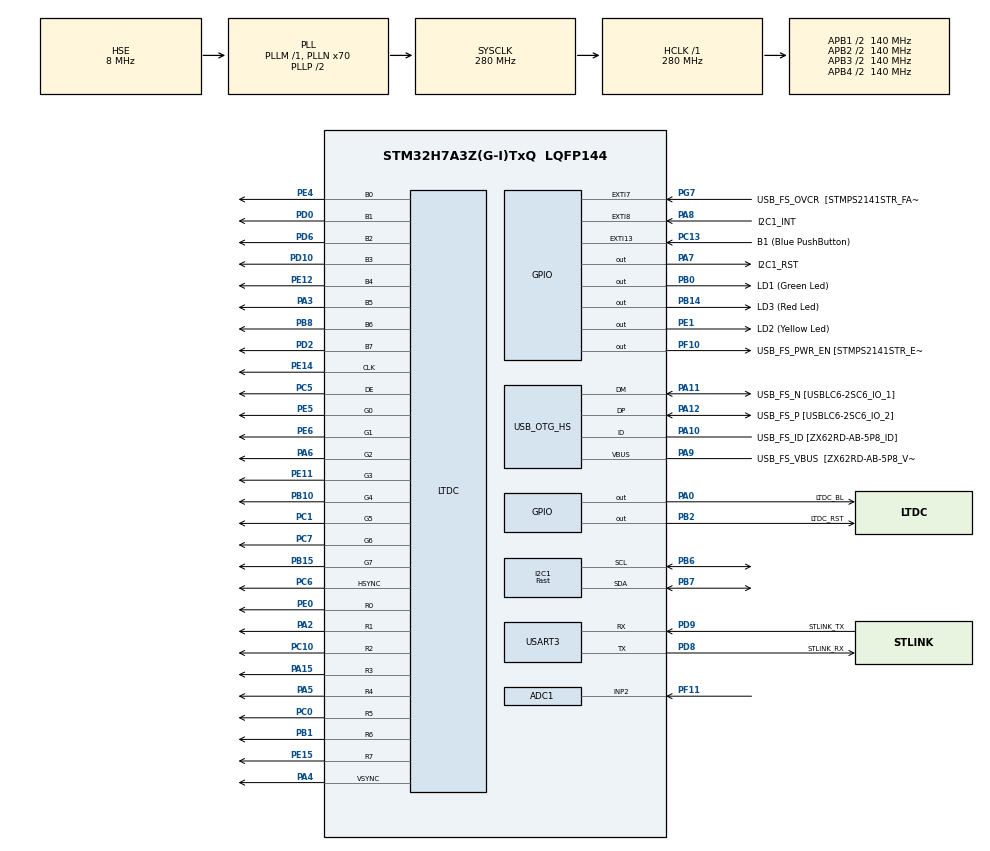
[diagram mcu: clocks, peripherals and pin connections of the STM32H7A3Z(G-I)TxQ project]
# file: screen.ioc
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ADC1.Channel-0\#ChannelRegularConversion=ADC_CHANNEL_2
ADC1.NbrOfConversionFlag=1
ADC1.OffsetNumber-0\#ChannelRegularConversion=ADC_OFFSET_NONE
ADC1.OffsetSignedSaturation-0\#ChannelRegularConversion=DISABLE
ADC1.Rank-0\#ChannelRegularConversion=1
ADC1.SamplingTime-0\#ChannelRegularConversion=ADC_SAMPLETIME_1CYCLE_5
ADC1.master=1
I2C1.I2C_Speed_Mode=I2C_Fast
I2C1.OwnAddress=0x38
I2C1.Timing=0x00D04BFF
LTDC.ActiveH=600
LTDC.ActiveW=1024
LTDC.Alpha0_L0=255
LTDC.Alpha_L0=255
LTDC.Blue=0
LTDC.Blue_L0=0
LTDC.FBStartAdress_L0=0x24000200
LTDC.Green_L0=0
LTDC.HBP=140
LTDC.HFP=160
LTDC.HSync=21
LTDC.ImageHeight_L0=600
LTDC.ImageWidth_L0=800
LTDC.Layers=0
LTDC.PixelFormat_L0=LTDC_PIXEL_FORMAT_RGB565
LTDC.Red_L0=0
LTDC.VBP=20
LTDC.VFP=12
LTDC.VSync=4
LTDC.WindowX0_L0=100
LTDC.WindowX1_L0=900
LTDC.WindowY0_L0=0
LTDC.WindowY1_L0=600
Mcu.Family=STM32H7
Mcu.Name=STM32H7A3Z(G-I)TxQ
Mcu.Package=LQFP144
NVIC.EXTI15_10_IRQn=true\:0\:0\:false\:false\:true\:true\:true\:true
NVIC.EXTI9_5_IRQn=true\:0\:0\:false\:false\:true\:true\:true\:true
NVIC.PriorityGroup=NVIC_PRIORITYGROUP_4
NVIC.TIM17_IRQn=true\:0\:0\:false\:false\:true\:true\:true\:true
PA0.GPIO_Label=LTDC_BL
PA0.GPIO_Speed=GPIO_SPEED_FREQ_VERY_HIGH
PA0.PinState=GPIO_PIN_RESET
PA0.Signal=GPIO_Output
PA10.GPIO_Label=USB_FS_ID [ZX62RD-AB-5P8_ID]
PA10.Mode=OTG/Dual-Role-Device-FS
PA10.Signal=USB_OTG_HS_ID
PA11.GPIO_Label=USB_FS_N [USBLC6-2SC6_IO_1]
PA11.Mode=OTG/Dual-Role-Device-FS
PA11.Signal=USB_OTG_HS_DM
PA12.GPIO_Label=USB_FS_P [USBLC6-2SC6_IO_2]
PA12.Mode=OTG/Dual-Role-Device-FS
PA12.Signal=USB_OTG_HS_DP
PA15.GPIO_Speed=GPIO_SPEED_FREQ_VERY_HIGH
PA15.Mode=RGB888
PA15.Signal=LTDC_R3
PA2.GPIO_Speed=GPIO_SPEED_FREQ_VERY_HIGH
PA2.Mode=RGB888
PA2.Signal=LTDC_R1
PA3.GPIO_Speed=GPIO_SPEED_FREQ_VERY_HIGH
PA3.Mode=RGB888
PA3.Signal=LTDC_B5
PA4.GPIO_Speed=GPIO_SPEED_FREQ_VERY_HIGH
PA4.Mode=RGB888
PA4.Signal=LTDC_VSYNC
PA5.GPIO_Speed=GPIO_SPEED_FREQ_VERY_HIGH
PA5.Mode=RGB888
PA5.Signal=LTDC_R4
PA6.GPIO_Speed=GPIO_SPEED_FREQ_VERY_HIGH
PA6.Mode=RGB888
PA6.Signal=LTDC_G2
PA7.GPIO_Label=I2C1_RST
PA7.GPIO_Speed=GPIO_SPEED_FREQ_LOW
PA7.PinState=GPIO_PIN_SET
PA7.Signal=GPIO_Output
PA8.GPIO_Label=I2C1_INT
PA8.Signal=GPXTI8
PA9.GPIO_Label=USB_FS_VBUS  [ZX62RD-AB-5P8_VBUS]
PA9.Mode=Activate_VBUS_FS
PA9.Signal=USB_OTG_HS_VBUS
PB0.GPIO_Label=LD1 (Green Led)
PB0.Signal=GPIO_Output
PB1.GPIO_Speed=GPIO_SPEED_FREQ_VERY_HIGH
PB1.Mode=RGB888
PB1.Signal=LTDC_R6
PB10.GPIO_Speed=GPIO_SPEED_FREQ_VERY_HIGH
PB10.Mode=RGB888
PB10.Signal=LTDC_G4
PB14.GPIO_Label=LD3 (Red Led)
PB14.Signal=GPIO_Output
PB15.GPIO_Speed=GPIO_SPEED_FREQ_VERY_HIGH
PB15.Mode=RGB888
PB15.Signal=LTDC_G7
PB2.GPIO_Label=LTDC_RST
PB2.GPIO_Speed=GPIO_SPEED_FREQ_VERY_HIGH
PB2.PinState=GPIO_PIN_SET
PB2.Signal=GPIO_Output
PB6.GPIO_Pu=GPIO_PULLUP
PB6.GPIO_Speed=GPIO_SPEED_FREQ_LOW
PB6.Mode=I2C
PB6.Signal=I2C1_SCL
PB7.GPIO_Pu=GPIO_PULLUP
PB7.GPIO_Speed=GPIO_SPEED_FREQ_LOW
PB7.Mode=I2C
PB7.Signal=I2C1_SDA
PB8.GPIO_Speed=GPIO_SPEED_FREQ_VERY_HIGH
PB8.Mode=RGB888
PB8.Signal=LTDC_B6
PC0.GPIO_Speed=GPIO_SPEED_FREQ_VERY_HIGH
PC0.Mode=RGB888
PC0.Signal=LTDC_R5
PC1.GPIO_Speed=GPIO_SPEED_FREQ_VERY_HIGH
PC1.Mode=RGB888
PC1.Signal=LTDC_G5
PC10.GPIO_Speed=GPIO_SPEED_FREQ_VERY_HIGH
PC10.Mode=RGB888
PC10.Signal=LTDC_R2
PC13.GPIO_Label=B1 (Blue PushButton)
PC13.Signal=GPXTI13
PC14-OSC32_IN.GPIO_Label=OSC32_IN
PC14-OSC32_IN.Mode=LSE-External-Oscillator
PC14-OSC32_IN.Signal=RCC_OSC32_IN
PC15-OSC32_OUT.GPIO_Label=OSC32_OUT
PC15-OSC32_OUT.Mode=LSE-External-Oscillator
PC15-OSC32_OUT.Signal=RCC_OSC32_OUT
PC5.GPIO_Speed=GPIO_SPEED_FREQ_VERY_HIGH
PC5.Mode=RGB888
PC5.Signal=LTDC_DE
PC6.GPIO_Speed=GPIO_SPEED_FREQ_VERY_HIGH
PC6.Mode=RGB888
PC6.Signal=LTDC_HSYNC
PC7.GPIO_Speed=GPIO_SPEED_FREQ_VERY_HIGH
PC7.Mode=RGB888
PC7.Signal=LTDC_G6
PD0.GPIO_Speed=GPIO_SPEED_FREQ_VERY_HIGH
PD0.Mode=RGB888
PD0.Signal=LTDC_B1
PD10.GPIO_Speed=GPIO_SPEED_FREQ_VERY_HIGH
PD10.Mode=RGB888
PD10.Signal=LTDC_B3
PD2.GPIO_Speed=GPIO_SPEED_FREQ_VERY_HIGH
PD2.Mode=RGB888
PD2.Signal=LTDC_B7
PD6.GPIO_Speed=GPIO_SPEED_FREQ_VERY_HIGH
PD6.Mode=RGB888
PD6.Signal=LTDC_B2
PD8.GPIO_Label=STLINK_RX
PD8.Mode=Asynchronous
PD8.Signal=USART3_TX
PD9.GPIO_Label=STLINK_TX
PD9.Mode=Asynchronous
PD9.Signal=USART3_RX
PE0.GPIO_Speed=GPIO_SPEED_FREQ_VERY_HIGH
PE0.Mode=RGB888
PE0.Signal=LTDC_R0
PE1.GPIO_Label=LD2 (Yellow Led)
PE1.Signal=GPIO_Output
PE11.GPIO_Speed=GPIO_SPEED_FREQ_VERY_HIGH
PE11.Mode=RGB888
PE11.Signal=LTDC_G3
PE12.GPIO_Speed=GPIO_SPEED_FREQ_VERY_HIGH
PE12.Mode=RGB888
PE12.Signal=LTDC_B4
PE14.GPIO_Speed=GPIO_SPEED_FREQ_VERY_HIGH
PE14.Mode=RGB888
PE14.Signal=LTDC_CLK
PE15.GPIO_Speed=GPIO_SPEED_FREQ_VERY_HIGH
PE15.Mode=RGB888
PE15.Signal=LTDC_R7
PE4.GPIO_Speed=GPIO_SPEED_FREQ_VERY_HIGH
PE4.Mode=RGB888
PE4.Signal=LTDC_B0
PE5.GPIO_Speed=GPIO_SPEED_FREQ_VERY_HIGH
PE5.Mode=RGB888
PE5.Signal=LTDC_G0
PE6.GPIO_Speed=GPIO_SPEED_FREQ_VERY_HIGH
PE6.Mode=RGB888
PE6.Signal=LTDC_G1
PF10.GPIO_Label=USB_FS_PWR_EN [STMPS2141STR_EN]
PF10.Signal=GPIO_Output
PF11.Mode=IN2-Single-Ended
PF11.Signal=ADC1_INP2
PG7.GPIO_Label=USB_FS_OVCR  [STMPS2141STR_FAULT]
PG7.Signal=GPXTI7
PH0-OSC_IN.GPIO_Label=PH0-MCU
PH0-OSC_IN.Mode=HSE-External-Oscillator
PH0-OSC_IN.Signal=RCC_OSC_IN
PH1-OSC_OUT.GPIO_Label=PH1-MCU
PH1-OSC_OUT.Mode=HSE-External-Oscillator
PH1-OSC_OUT.Signal=RCC_OSC_OUT
ProjectManager.HeapSize=0x200
ProjectManager.StackSize=0x400
ProjectManager.TargetToolchain=STM32CubeIDE
RCC.ADCFreq_Value=128000000
RCC.APB1Freq_Value=140000000
RCC.APB2Freq_Value=140000000
RCC.APB3Freq_Value=140000000
RCC.APB4Freq_Value=140000000
RCC.CDPPRE=RCC_APB3_DIV2
RCC.CDPPRE1=RCC_APB1_DIV2
RCC.CDPPRE2=RCC_APB2_DIV2
RCC.CortexFreq_Value=280000000
RCC.DIVM1=1
RCC.DIVM2=1
RCC.DIVM3=1
RCC.DIVN1=70
RCC.DIVN2=16
RCC.DIVN3=32
RCC.DIVP2=1
RCC.DIVQ1=4
RCC.DIVR3=5
RCC.HCLKFreq_Value=280000000
RCC.HSE_VALUE=8000000
RCC.PLL2FRACN=0
RCC.PLL3FRACN=0
RCC.PLLFRACN=0
RCC.PLLSourceVirtual=RCC_PLLSOURCE_HSE
RCC.SRDPPRE=RCC_APB4_DIV2
RCC.SYSCLKFreq_VALUE=280000000
RCC.SYSCLKSource=RCC_SYSCLKSOURCE_PLLCLK
RCC.SupplySource=PWR_DIRECT_SMPS_SUPPLY
RCC.USBCLockSelection=RCC_USBCLKSOURCE_HSI48
RCC.USBFreq_Value=48000000
TIM17.Period=10000
TIM17.Prescaler=28000
USART3.VirtualMode-Asynchronous=VM_ASYNC
VP_TIM17_VS_ClockSourceINT.Mode=Enable_Timer
board=NUCLEO-H7A3ZI-Q

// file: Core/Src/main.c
/* USER CODE BEGIN Header */
/**
 ******************************************************************************
 * @file           : main.c
 * @brief          : Main program body
 ******************************************************************************
 * @attention
 *
 * Copyright (c) 2022 STMicroelectronics.
 * All rights reserved.
 *
 * This software is licensed under terms that can be found in the LICENSE file
 * in the root directory of this software component.
 * If no LICENSE file comes with this software, it is provided AS-IS.
 *
 ******************************************************************************
 */
/* USER CODE END Header */
#include "main.h"

/* USER CODE BEGIN Includes */
#include "screen.h"
#include "stdlib.h"
#include "string.h"
/* USER CODE END Includes */

 ADC_HandleTypeDef hadc1;

I2C_HandleTypeDef hi2c1;

LTDC_HandleTypeDef hltdc;

TIM_HandleTypeDef htim17;

UART_HandleTypeDef huart3;

/* USER CODE BEGIN PV */
extern unsigned long long tick;
/* USER CODE END PV */

void SystemClock_Config(void);
static void MX_GPIO_Init(void);
static void MX_USART3_UART_Init(void);
static void MX_USB_OTG_HS_USB_Init(void);
static void MX_LTDC_Init(void);
static void MX_I2C1_Init(void);
static void MX_ADC1_Init(void);
static void MX_TIM17_Init(void);

int main(void)
{

  /* MCU Configuration--------------------------------------------------------*/

  /* Reset of all peripherals, Initializes the Flash interface and the Systick. */
  HAL_Init();

  /* Configure the system clock */
  SystemClock_Config();

  /* USER CODE BEGIN SysInit */
	HAL_GPIO_WritePin(LD1_GPIO_Port, LD1_Pin, RESET);
	HAL_GPIO_WritePin(LTDC_RST_GPIO_Port, LTDC_RST_Pin, RESET);
	HAL_GPIO_WritePin(I2C1_RST_GPIO_Port, I2C1_RST_Pin, RESET);
	HAL_Delay(100);
	HAL_GPIO_WritePin(LTDC_RST_GPIO_Port, LTDC_RST_Pin, SET); // LCD reset
	HAL_GPIO_WritePin(I2C1_RST_GPIO_Port, I2C1_RST_Pin, SET); // I2C reset
	touch_reg_init(&hi2c1); // touch screen register
	HAL_Delay(100);
  /* USER CODE END SysInit */

  /* Initialize all configured peripherals */
  MX_GPIO_Init();
  MX_USART3_UART_Init();
  MX_USB_OTG_HS_USB_Init();
  MX_LTDC_Init();
  MX_I2C1_Init();
  MX_ADC1_Init();
  MX_TIM17_Init();
  /* USER CODE BEGIN 2 */
	HAL_GPIO_WritePin(LD1_GPIO_Port, LD1_Pin, SET);
	pos_t pos = clrscreen(RGB565(255, 255, 255));
	HAL_GPIO_WritePin(LTDC_BL_GPIO_Port, LTDC_BL_Pin, SET);
	HAL_TIM_Base_Start_IT(&htim17);

//	while (1) {
//		point_t p[] = { { 50, 100 }, { -50, 0 }, { 250, 0 }, { 150, 100 } };
//		point_t p2[] = { { 150, 100 }, { 200, 160 }, { 150, 200 } };
//		point_t start = { 100, 200 };
//		rect_t border = outline_bezier(3, p, start, 0x0, 0, 1);
//		rect_t border2 = outline_bezier(2, p2, start, 0x0, 0, 1);
//		if (border2.l < border.l)
//			border.l = border2.l;
//		if (border2.r > border.r)
//			border.r = border2.r;
//		if (border2.t < border.t)
//			border.t = border2.t;
//		if (border2.b > border.b)
//			border.b = border2.b;
//		int sz = (border.r - border.l + 1) * (border.b - border.t + 1) / 8 + 1;
//		char *bitout = (char*) malloc(sz);
//		char *bitasc = (char*) malloc(sz);
//		char *bitdesc = (char*) malloc(sz);
//		memset(bitout, 0, sz);
//		memset(bitasc, 0, sz);
//		memset(bitdesc, 0, sz);
//		double theta;
//		fill_bezier(3, p, start, border, bitout, bitasc, bitdesc, &theta);
//		fill_bezier(2, p2, start, border, bitout, bitasc, bitdesc, &theta);
//		for (int x = border.l; x < border.r; x++)
//			for (int y = border.t; y < border.b; y++)
//				if (testbit(bitout, (y - border.t) * (border.r - border.l + 1) + (x - border.l)))
//					draw_dot(x, y, 0x001f);
//		free(bitasc);
//		free(bitdesc);
//		outline_bezier(3, p, start, 0x0, 1, 1);
//		outline_bezier(2, p2, start, 0x0, 1, 1);
//		while (1)
//			;
//	}

	int ch = 0;
	while (1) {
//		ch = '@' - '!';
		clrscreen(0xffff);
		rect_t border = outline_svg_path(POS(0, 0), 32,
				vfont_pos[ch + 1] - vfont_pos[ch], vfont_path + vfont_pos[ch],
				0, 0, 0);
//		fill_rect(POS(border.l, border.t), POS(border.r, border.b), RGB565(255, 255, 0));
		outline_svg_path(POS(0, 0), 32, vfont_pos[ch + 1] - vfont_pos[ch],
				vfont_path + vfont_pos[ch], 0, 1, 0);
		if (border.l == -1 || border.r == -1 || border.b == -1 || border.t == -1) {
			fill_rect(POS(0, 0), POS(100, 100), 0xf800);
			while (1);
		}
		int sz = (border.r - border.l + 1) * (border.b - border.t + 1) / 8 + 1;
		char *bitout = (char*) malloc(sz);
		memset(bitout, 0, sz);
		fill_svg_path(POS(0, 0), 32, vfont_pos[ch + 1] - vfont_pos[ch],
				vfont_path + vfont_pos[ch], bitout, border);
		for (int x = border.l; x < border.r; x++)
			for (int y = border.t; y < border.b; y++)
				if (IN_WINDOW(x, y))
					if (testbit(bitout, (y - border.t) * (border.r - border.l + 1) + (x - border.l)))
						draw_dot(x, y, 0x001f);
		free(bitout);
		ch++;
		if (ch == 0x7f - '!')
			ch = 0;
		HAL_Delay(500);
//		while (1);
	}

  /* USER CODE END 2 */

  /* Infinite loop */
  /* USER CODE BEGIN WHILE */
	HAL_ADCEx_Calibration_Start(&hadc1, ADC_CALIB_OFFSET, ADC_SINGLE_ENDED); // ADC
	while (1) {
		HAL_ADC_Start(&hadc1);
		HAL_ADC_PollForConversion(&hadc1, HAL_MAX_DELAY);
//		_putl(pos, HAL_ADC_GetValue(&hadc1), 10);
    /* USER CODE END WHILE */

	}
}

void SystemClock_Config(void)
{
  RCC_OscInitTypeDef RCC_OscInitStruct = {0};
  RCC_ClkInitTypeDef RCC_ClkInitStruct = {0};

  /** Supply configuration update enable
  */
  HAL_PWREx_ConfigSupply(PWR_DIRECT_SMPS_SUPPLY);

  /** Configure the main internal regulator output voltage
  */
  __HAL_PWR_VOLTAGESCALING_CONFIG(PWR_REGULATOR_VOLTAGE_SCALE0);

  while(!__HAL_PWR_GET_FLAG(PWR_FLAG_VOSRDY)) {}

  /** Macro to configure the PLL clock source
  */
  __HAL_RCC_PLL_PLLSOURCE_CONFIG(RCC_PLLSOURCE_HSE);

  /** Initializes the RCC Oscillators according to the specified parameters
  * in the RCC_OscInitTypeDef structure.
  */
  RCC_OscInitStruct.OscillatorType = RCC_OSCILLATORTYPE_HSI48|RCC_OSCILLATORTYPE_HSE;
  RCC_OscInitStruct.HSEState = RCC_HSE_ON;
  RCC_OscInitStruct.HSI48State = RCC_HSI48_ON;
  RCC_OscInitStruct.PLL.PLLState = RCC_PLL_ON;
  RCC_OscInitStruct.PLL.PLLSource = RCC_PLLSOURCE_HSE;
  RCC_OscInitStruct.PLL.PLLM = 1;
  RCC_OscInitStruct.PLL.PLLN = 70;
  RCC_OscInitStruct.PLL.PLLP = 2;
  RCC_OscInitStruct.PLL.PLLQ = 4;
  RCC_OscInitStruct.PLL.PLLR = 2;
  RCC_OscInitStruct.PLL.PLLRGE = RCC_PLL1VCIRANGE_3;
  RCC_OscInitStruct.PLL.PLLVCOSEL = RCC_PLL1VCOWIDE;
  RCC_OscInitStruct.PLL.PLLFRACN = 0;
  if (HAL_RCC_OscConfig(&RCC_OscInitStruct) != HAL_OK)
  {
    Error_Handler();
  }

  /** Initializes the CPU, AHB and APB buses clocks
  */
  RCC_ClkInitStruct.ClockType = RCC_CLOCKTYPE_HCLK|RCC_CLOCKTYPE_SYSCLK
                              |RCC_CLOCKTYPE_PCLK1|RCC_CLOCKTYPE_PCLK2
                              |RCC_CLOCKTYPE_D3PCLK1|RCC_CLOCKTYPE_D1PCLK1;
  RCC_ClkInitStruct.SYSCLKSource = RCC_SYSCLKSOURCE_PLLCLK;
  RCC_ClkInitStruct.SYSCLKDivider = RCC_SYSCLK_DIV1;
  RCC_ClkInitStruct.AHBCLKDivider = RCC_HCLK_DIV1;
  RCC_ClkInitStruct.APB3CLKDivider = RCC_APB3_DIV2;
  RCC_ClkInitStruct.APB1CLKDivider = RCC_APB1_DIV2;
  RCC_ClkInitStruct.APB2CLKDivider = RCC_APB2_DIV2;
  RCC_ClkInitStruct.APB4CLKDivider = RCC_APB4_DIV2;

  if (HAL_RCC_ClockConfig(&RCC_ClkInitStruct, FLASH_LATENCY_7) != HAL_OK)
  {
    Error_Handler();
  }
}

static void MX_ADC1_Init(void)
{

  ADC_MultiModeTypeDef multimode = {0};
  ADC_ChannelConfTypeDef sConfig = {0};

  /** Common config
  */
  hadc1.Instance = ADC1;
  hadc1.Init.ClockPrescaler = ADC_CLOCK_ASYNC_DIV1;
  hadc1.Init.Resolution = ADC_RESOLUTION_16B;
  hadc1.Init.ScanConvMode = ADC_SCAN_DISABLE;
  hadc1.Init.EOCSelection = ADC_EOC_SINGLE_CONV;
  hadc1.Init.LowPowerAutoWait = DISABLE;
  hadc1.Init.ContinuousConvMode = DISABLE;
  hadc1.Init.NbrOfConversion = 1;
  hadc1.Init.DiscontinuousConvMode = DISABLE;
  hadc1.Init.ExternalTrigConv = ADC_SOFTWARE_START;
  hadc1.Init.ExternalTrigConvEdge = ADC_EXTERNALTRIGCONVEDGE_NONE;
  hadc1.Init.ConversionDataManagement = ADC_CONVERSIONDATA_DR;
  hadc1.Init.Overrun = ADC_OVR_DATA_PRESERVED;
  hadc1.Init.LeftBitShift = ADC_LEFTBITSHIFT_NONE;
  hadc1.Init.OversamplingMode = DISABLE;
  if (HAL_ADC_Init(&hadc1) != HAL_OK)
  {
    Error_Handler();
  }

  /** Configure the ADC multi-mode
  */
  multimode.Mode = ADC_MODE_INDEPENDENT;
  if (HAL_ADCEx_MultiModeConfigChannel(&hadc1, &multimode) != HAL_OK)
  {
    Error_Handler();
  }

  /** Configure Regular Channel
  */
  sConfig.Channel = ADC_CHANNEL_2;
  sConfig.Rank = ADC_REGULAR_RANK_1;
  sConfig.SamplingTime = ADC_SAMPLETIME_1CYCLE_5;
  sConfig.SingleDiff = ADC_SINGLE_ENDED;
  sConfig.OffsetNumber = ADC_OFFSET_NONE;
  sConfig.Offset = 0;
  sConfig.OffsetSignedSaturation = DISABLE;
  if (HAL_ADC_ConfigChannel(&hadc1, &sConfig) != HAL_OK)
  {
    Error_Handler();
  }

}

static void MX_I2C1_Init(void)
{

  hi2c1.Instance = I2C1;
  hi2c1.Init.Timing = 0x00D04BFF;
  hi2c1.Init.OwnAddress1 = 112;
  hi2c1.Init.AddressingMode = I2C_ADDRESSINGMODE_7BIT;
  hi2c1.Init.DualAddressMode = I2C_DUALADDRESS_DISABLE;
  hi2c1.Init.OwnAddress2 = 0;
  hi2c1.Init.OwnAddress2Masks = I2C_OA2_NOMASK;
  hi2c1.Init.GeneralCallMode = I2C_GENERALCALL_DISABLE;
  hi2c1.Init.NoStretchMode = I2C_NOSTRETCH_DISABLE;
  if (HAL_I2C_Init(&hi2c1) != HAL_OK)
  {
    Error_Handler();
  }

  /** Configure Analogue filter
  */
  if (HAL_I2CEx_ConfigAnalogFilter(&hi2c1, I2C_ANALOGFILTER_ENABLE) != HAL_OK)
  {
    Error_Handler();
  }

  /** Configure Digital filter
  */
  if (HAL_I2CEx_ConfigDigitalFilter(&hi2c1, 0) != HAL_OK)
  {
    Error_Handler();
  }

}

static void MX_LTDC_Init(void)
{

  LTDC_LayerCfgTypeDef pLayerCfg = {0};

  hltdc.Instance = LTDC;
  hltdc.Init.HSPolarity = LTDC_HSPOLARITY_AL;
  hltdc.Init.VSPolarity = LTDC_VSPOLARITY_AL;
  hltdc.Init.DEPolarity = LTDC_DEPOLARITY_AL;
  hltdc.Init.PCPolarity = LTDC_PCPOLARITY_IPC;
  hltdc.Init.HorizontalSync = 20;
  hltdc.Init.VerticalSync = 3;
  hltdc.Init.AccumulatedHBP = 160;
  hltdc.Init.AccumulatedVBP = 23;
  hltdc.Init.AccumulatedActiveW = 1184;
  hltdc.Init.AccumulatedActiveH = 623;
  hltdc.Init.TotalWidth = 1344;
  hltdc.Init.TotalHeigh = 635;
  hltdc.Init.Backcolor.Blue = 0;
  hltdc.Init.Backcolor.Green = 0;
  hltdc.Init.Backcolor.Red = 0;
  if (HAL_LTDC_Init(&hltdc) != HAL_OK)
  {
    Error_Handler();
  }
  pLayerCfg.WindowX0 = 100;
  pLayerCfg.WindowX1 = 900;
  pLayerCfg.WindowY0 = 0;
  pLayerCfg.WindowY1 = 600;
  pLayerCfg.PixelFormat = LTDC_PIXEL_FORMAT_RGB565;
  pLayerCfg.Alpha = 255;
  pLayerCfg.Alpha0 = 255;
  pLayerCfg.BlendingFactor1 = LTDC_BLENDING_FACTOR1_CA;
  pLayerCfg.BlendingFactor2 = LTDC_BLENDING_FACTOR2_CA;
  pLayerCfg.FBStartAdress = 0x24000200;
  pLayerCfg.ImageWidth = 800;
  pLayerCfg.ImageHeight = 600;
  pLayerCfg.Backcolor.Blue = 0;
  pLayerCfg.Backcolor.Green = 0;
  pLayerCfg.Backcolor.Red = 0;
  if (HAL_LTDC_ConfigLayer(&hltdc, &pLayerCfg, 0) != HAL_OK)
  {
    Error_Handler();
  }
  /* USER CODE BEGIN LTDC_Init 2 */
	pLayerCfg.FBStartAdress = (uint32_t) pixels_565;
	if (HAL_LTDC_ConfigLayer(&hltdc, &pLayerCfg, 0) != HAL_OK) {
		Error_Handler();
	}

  /* USER CODE END LTDC_Init 2 */

}

static void MX_TIM17_Init(void)
{

  htim17.Instance = TIM17;
  htim17.Init.Prescaler = 28000;
  htim17.Init.CounterMode = TIM_COUNTERMODE_UP;
  htim17.Init.Period = 10000;
  htim17.Init.ClockDivision = TIM_CLOCKDIVISION_DIV1;
  htim17.Init.RepetitionCounter = 0;
  htim17.Init.AutoReloadPreload = TIM_AUTORELOAD_PRELOAD_DISABLE;
  if (HAL_TIM_Base_Init(&htim17) != HAL_OK)
  {
    Error_Handler();
  }

}

static void MX_USART3_UART_Init(void)
{

  huart3.Instance = USART3;
  huart3.Init.BaudRate = 115200;
  huart3.Init.WordLength = UART_WORDLENGTH_8B;
  huart3.Init.StopBits = UART_STOPBITS_1;
  huart3.Init.Parity = UART_PARITY_NONE;
  huart3.Init.Mode = UART_MODE_TX_RX;
  huart3.Init.HwFlowCtl = UART_HWCONTROL_NONE;
  huart3.Init.OverSampling = UART_OVERSAMPLING_16;
  huart3.Init.OneBitSampling = UART_ONE_BIT_SAMPLE_DISABLE;
  huart3.Init.ClockPrescaler = UART_PRESCALER_DIV1;
  huart3.AdvancedInit.AdvFeatureInit = UART_ADVFEATURE_NO_INIT;
  if (HAL_UART_Init(&huart3) != HAL_OK)
  {
    Error_Handler();
  }
  if (HAL_UARTEx_SetTxFifoThreshold(&huart3, UART_TXFIFO_THRESHOLD_1_8) != HAL_OK)
  {
    Error_Handler();
  }
  if (HAL_UARTEx_SetRxFifoThreshold(&huart3, UART_RXFIFO_THRESHOLD_1_8) != HAL_OK)
  {
    Error_Handler();
  }
  if (HAL_UARTEx_DisableFifoMode(&huart3) != HAL_OK)
  {
    Error_Handler();
  }

}

static void MX_USB_OTG_HS_USB_Init(void)
{

}

static void MX_GPIO_Init(void)
{
  GPIO_InitTypeDef GPIO_InitStruct = {0};

  /* GPIO Ports Clock Enable */
  __HAL_RCC_GPIOE_CLK_ENABLE();
  __HAL_RCC_GPIOC_CLK_ENABLE();
  __HAL_RCC_GPIOF_CLK_ENABLE();
  __HAL_RCC_GPIOH_CLK_ENABLE();
  __HAL_RCC_GPIOA_CLK_ENABLE();
  __HAL_RCC_GPIOB_CLK_ENABLE();
  __HAL_RCC_GPIOD_CLK_ENABLE();
  __HAL_RCC_GPIOG_CLK_ENABLE();

  /*Configure GPIO pin Output Level */
  HAL_GPIO_WritePin(USB_FS_PWR_EN_GPIO_Port, USB_FS_PWR_EN_Pin, GPIO_PIN_RESET);

  /*Configure GPIO pin Output Level */
  HAL_GPIO_WritePin(LTDC_BL_GPIO_Port, LTDC_BL_Pin, GPIO_PIN_RESET);

  /*Configure GPIO pin Output Level */
  HAL_GPIO_WritePin(I2C1_RST_GPIO_Port, I2C1_RST_Pin, GPIO_PIN_SET);

  /*Configure GPIO pin Output Level */
  HAL_GPIO_WritePin(GPIOB, LD1_Pin|LD3_Pin, GPIO_PIN_RESET);

  /*Configure GPIO pin Output Level */
  HAL_GPIO_WritePin(LTDC_RST_GPIO_Port, LTDC_RST_Pin, GPIO_PIN_SET);

  /*Configure GPIO pin Output Level */
  HAL_GPIO_WritePin(LD2_GPIO_Port, LD2_Pin, GPIO_PIN_RESET);

  /*Configure GPIO pin : B1_Pin */
  GPIO_InitStruct.Pin = B1_Pin;
  GPIO_InitStruct.Mode = GPIO_MODE_IT_RISING;
  GPIO_InitStruct.Pull = GPIO_NOPULL;
  HAL_GPIO_Init(B1_GPIO_Port, &GPIO_InitStruct);

  /*Configure GPIO pin : USB_FS_PWR_EN_Pin */
  GPIO_InitStruct.Pin = USB_FS_PWR_EN_Pin;
  GPIO_InitStruct.Mode = GPIO_MODE_OUTPUT_PP;
  GPIO_InitStruct.Pull = GPIO_NOPULL;
  GPIO_InitStruct.Speed = GPIO_SPEED_FREQ_LOW;
  HAL_GPIO_Init(USB_FS_PWR_EN_GPIO_Port, &GPIO_InitStruct);

  /*Configure GPIO pin : LTDC_BL_Pin */
  GPIO_InitStruct.Pin = LTDC_BL_Pin;
  GPIO_InitStruct.Mode = GPIO_MODE_OUTPUT_PP;
  GPIO_InitStruct.Pull = GPIO_NOPULL;
  GPIO_InitStruct.Speed = GPIO_SPEED_FREQ_VERY_HIGH;
  HAL_GPIO_Init(LTDC_BL_GPIO_Port, &GPIO_InitStruct);

  /*Configure GPIO pin : I2C1_RST_Pin */
  GPIO_InitStruct.Pin = I2C1_RST_Pin;
  GPIO_InitStruct.Mode = GPIO_MODE_OUTPUT_PP;
  GPIO_InitStruct.Pull = GPIO_NOPULL;
  GPIO_InitStruct.Speed = GPIO_SPEED_FREQ_LOW;
  HAL_GPIO_Init(I2C1_RST_GPIO_Port, &GPIO_InitStruct);

  /*Configure GPIO pins : LD1_Pin LD3_Pin */
  GPIO_InitStruct.Pin = LD1_Pin|LD3_Pin;
  GPIO_InitStruct.Mode = GPIO_MODE_OUTPUT_PP;
  GPIO_InitStruct.Pull = GPIO_NOPULL;
  GPIO_InitStruct.Speed = GPIO_SPEED_FREQ_LOW;
  HAL_GPIO_Init(GPIOB, &GPIO_InitStruct);

  /*Configure GPIO pin : LTDC_RST_Pin */
  GPIO_InitStruct.Pin = LTDC_RST_Pin;
  GPIO_InitStruct.Mode = GPIO_MODE_OUTPUT_PP;
  GPIO_InitStruct.Pull = GPIO_NOPULL;
  GPIO_InitStruct.Speed = GPIO_SPEED_FREQ_VERY_HIGH;
  HAL_GPIO_Init(LTDC_RST_GPIO_Port, &GPIO_InitStruct);

  /*Configure GPIO pin : USB_FS_OVCR_Pin */
  GPIO_InitStruct.Pin = USB_FS_OVCR_Pin;
  GPIO_InitStruct.Mode = GPIO_MODE_IT_RISING;
  GPIO_InitStruct.Pull = GPIO_NOPULL;
  HAL_GPIO_Init(USB_FS_OVCR_GPIO_Port, &GPIO_InitStruct);

  /*Configure GPIO pin : I2C1_INT_Pin */
  GPIO_InitStruct.Pin = I2C1_INT_Pin;
  GPIO_InitStruct.Mode = GPIO_MODE_IT_RISING;
  GPIO_InitStruct.Pull = GPIO_NOPULL;
  HAL_GPIO_Init(I2C1_INT_GPIO_Port, &GPIO_InitStruct);

  /*Configure GPIO pin : USB_FS_VBUS_Pin */
  GPIO_InitStruct.Pin = USB_FS_VBUS_Pin;
  GPIO_InitStruct.Mode = GPIO_MODE_INPUT;
  GPIO_InitStruct.Pull = GPIO_NOPULL;
  HAL_GPIO_Init(USB_FS_VBUS_GPIO_Port, &GPIO_InitStruct);

  /*Configure GPIO pin : USB_FS_ID_Pin */
  GPIO_InitStruct.Pin = USB_FS_ID_Pin;
  GPIO_InitStruct.Mode = GPIO_MODE_AF_PP;
  GPIO_InitStruct.Pull = GPIO_NOPULL;
  GPIO_InitStruct.Speed = GPIO_SPEED_FREQ_LOW;
  GPIO_InitStruct.Alternate = GPIO_AF10_OTG1_HS;
  HAL_GPIO_Init(USB_FS_ID_GPIO_Port, &GPIO_InitStruct);

  /*Configure GPIO pins : USB_FS_N_Pin USB_FS_P_Pin */
  GPIO_InitStruct.Pin = USB_FS_N_Pin|USB_FS_P_Pin;
  GPIO_InitStruct.Mode = GPIO_MODE_AF_PP;
  GPIO_InitStruct.Pull = GPIO_NOPULL;
  GPIO_InitStruct.Speed = GPIO_SPEED_FREQ_LOW;
  HAL_GPIO_Init(GPIOA, &GPIO_InitStruct);

  /*Configure GPIO pin : LD2_Pin */
  GPIO_InitStruct.Pin = LD2_Pin;
  GPIO_InitStruct.Mode = GPIO_MODE_OUTPUT_PP;
  GPIO_InitStruct.Pull = GPIO_NOPULL;
  GPIO_InitStruct.Speed = GPIO_SPEED_FREQ_LOW;
  HAL_GPIO_Init(LD2_GPIO_Port, &GPIO_InitStruct);

  /* EXTI interrupt init*/
  HAL_NVIC_SetPriority(EXTI9_5_IRQn, 0, 0);
  HAL_NVIC_EnableIRQ(EXTI9_5_IRQn);

  HAL_NVIC_SetPriority(EXTI15_10_IRQn, 0, 0);
  HAL_NVIC_EnableIRQ(EXTI15_10_IRQn);

}

void Error_Handler(void)
{
	__disable_irq();
	while (1) {
	}
}
